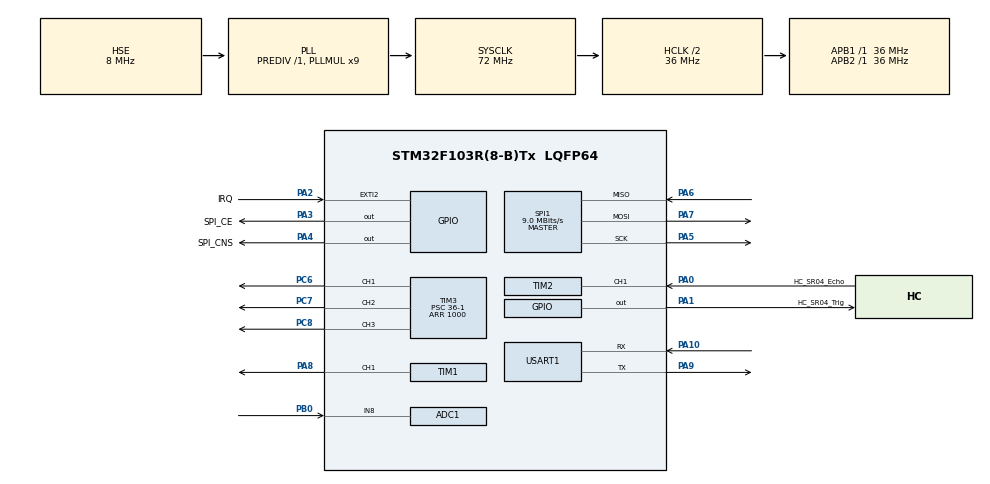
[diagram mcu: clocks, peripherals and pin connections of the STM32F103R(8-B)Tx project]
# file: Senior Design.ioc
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ADC1.Channel-2\#ChannelRegularConversion=ADC_CHANNEL_8
ADC1.NbrOfConversionFlag=1
ADC1.Rank-2\#ChannelRegularConversion=1
ADC1.SamplingTime-2\#ChannelRegularConversion=ADC_SAMPLETIME_1CYCLE_5
ADC1.master=1
FREERTOS.INCLUDE_vTaskDelayUntil=1
FREERTOS.Tasks01=Task_Init,2,128,Initialization,Default,NULL,Dynamic,NULL,NULL;Task_Sensing,1,128,Sensing,Default,NULL,Dynamic,NULL,NULL;Task_Serial,0,128,Serial_Send,Default,NULL,Dynamic,NULL,NULL;Task_Feedback,0,128,User_Feedback,Default,NULL,Dynamic,NULL,NULL;Task_Battery,0,128,Battery_Level,Default,NULL,Dynamic,NULL,NULL
FREERTOS.configTOTAL_HEAP_SIZE=3200
Mcu.Family=STM32F1
Mcu.Name=STM32F103R(8-B)Tx
Mcu.Package=LQFP64
NVIC.EXTI2_IRQn=true\:5\:0\:false\:false\:true\:true\:true\:true\:true
NVIC.PriorityGroup=NVIC_PRIORITYGROUP_4
NVIC.TIM2_IRQn=true\:5\:0\:false\:false\:true\:true\:true\:true\:true
NVIC.TIM4_IRQn=true\:15\:0\:false\:false\:true\:false\:false\:true\:true
NVIC.TimeBase=TIM4_IRQn
NVIC.TimeBaseIP=TIM4
PA0-WKUP.GPIO_Label=HC_SR04_Echo
PA0-WKUP.Signal=S_TIM2_CH1_ETR
PA1.GPIO_Label=HC_SR04_Trig
PA1.GPIO_Speed=GPIO_SPEED_FREQ_HIGH
PA1.Signal=GPIO_Output
PA10.Mode=Asynchronous
PA10.Signal=USART1_RX
PA13.Mode=Serial_Wire
PA13.Signal=SYS_JTMS-SWDIO
PA14.Mode=Serial_Wire
PA14.Signal=SYS_JTCK-SWCLK
PA2.GPIO_Label=IRQ
PA2.GPIO_ModeDefaultEXTI=GPIO_MODE_IT_FALLING
PA2.Signal=GPXTI2
PA3.GPIO_Label=SPI_CE
PA3.GPIO_Speed=GPIO_SPEED_FREQ_LOW
PA3.Signal=GPIO_Output
PA4.GPIO_Label=SPI_CNS
PA4.GPIO_Speed=GPIO_SPEED_FREQ_HIGH
PA4.PinState=GPIO_PIN_SET
PA4.Signal=GPIO_Output
PA5.Mode=Full_Duplex_Master
PA5.Signal=SPI1_SCK
PA6.Mode=Full_Duplex_Master
PA6.Signal=SPI1_MISO
PA7.Mode=Full_Duplex_Master
PA7.Signal=SPI1_MOSI
PA8.Signal=S_TIM1_CH1
PA9.Mode=Asynchronous
PA9.Signal=USART1_TX
PB0.Signal=ADCx_IN8
PC6.Signal=S_TIM3_CH1
PC7.Signal=S_TIM3_CH2
PC8.Signal=S_TIM3_CH3
PD0-OSC_IN.Mode=HSE-External-Oscillator
PD0-OSC_IN.Signal=RCC_OSC_IN
PD1-OSC_OUT.Mode=HSE-External-Oscillator
PD1-OSC_OUT.Signal=RCC_OSC_OUT
ProjectManager.HeapSize=0x200
ProjectManager.StackSize=0x400
ProjectManager.TargetToolchain=MDK-ARM V5.32
RCC.ADCPresc=RCC_ADCPCLK2_DIV4
RCC.AHBCLKDivider=RCC_SYSCLK_DIV2
RCC.AHBFreq_Value=36000000
RCC.APB1Freq_Value=36000000
RCC.APB1TimFreq_Value=36000000
RCC.APB2Freq_Value=36000000
RCC.APB2TimFreq_Value=36000000
RCC.HCLKFreq_Value=36000000
RCC.PLLMUL=RCC_PLL_MUL9
RCC.PLLSourceVirtual=RCC_PLLSOURCE_HSE
RCC.SYSCLKFreq_VALUE=72000000
RCC.SYSCLKSource=RCC_SYSCLKSOURCE_PLLCLK
RCC.USBFreq_Value=72000000
SH.ADCx_IN8.0=ADC1_IN8,IN8
SH.S_TIM1_CH1.0=TIM1_CH1,PWM Generation1 CH1
SH.S_TIM2_CH1_ETR.0=TIM2_CH1,Input_Capture1_from_TI1
SH.S_TIM3_CH1.0=TIM3_CH1,PWM Generation1 CH1
SH.S_TIM3_CH2.0=TIM3_CH2,PWM Generation2 CH2
SH.S_TIM3_CH3.0=TIM3_CH3,PWM Generation3 CH3
SPI1.BaudRatePrescaler=SPI_BAUDRATEPRESCALER_4
SPI1.CalculateBaudRate=9.0 MBits/s
SPI1.Direction=SPI_DIRECTION_2LINES
SPI1.Mode=SPI_MODE_MASTER
SPI1.VirtualType=VM_MASTER
TIM1.Channel-PWM\ Generation1\ CH1=TIM_CHANNEL_1
TIM1.Period=0
TIM1.Prescaler=36-1
TIM2.Channel-Input_Capture1_from_TI1=TIM_CHANNEL_1
TIM2.Period=0xffff
TIM2.Prescaler=36-1
TIM3.Channel-PWM\ Generation1\ CH1=TIM_CHANNEL_1
TIM3.Channel-PWM\ Generation2\ CH2=TIM_CHANNEL_2
TIM3.Channel-PWM\ Generation3\ CH3=TIM_CHANNEL_3
TIM3.Period=1000
TIM3.Prescaler=36-1
USART1.VirtualMode=VM_ASYNC
VP_FREERTOS_VS_CMSIS_V1.Mode=CMSIS_V1
VP_SYS_VS_tim4.Mode=TIM4
VP_TIM1_VS_ClockSourceINT.Mode=Internal
VP_TIM2_VS_ClockSourceINT.Mode=Internal
VP_TIM3_VS_ClockSourceINT.Mode=Internal
board=custom

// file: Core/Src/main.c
/* USER CODE BEGIN Header */
/**
  ******************************************************************************
  * @file           : main.c
  * @brief          : Main program body
  ******************************************************************************
  * @attention
  *
  * Copyright (c) 2024 STMicroelectronics.
  * All rights reserved.
  *
  * This software is licensed under terms that can be found in the LICENSE file
  * in the root directory of this software component.
  * If no LICENSE file comes with this software, it is provided AS-IS.
  *
  ******************************************************************************
  */
/* USER CODE END Header */
#include "main.h"
#include "cmsis_os.h"
#include "adc.h"
#include "spi.h"
#include "tim.h"
#include "usart.h"
#include "gpio.h"

void SystemClock_Config(void);
void MX_FREERTOS_Init(void);

int main(void)
{

  /* MCU Configuration--------------------------------------------------------*/

  /* Reset of all peripherals, Initializes the Flash interface and the Systick. */
  HAL_Init();

  /* Configure the system clock */
  SystemClock_Config();

  /* Initialize all configured peripherals */
  MX_GPIO_Init();
  MX_USART1_UART_Init();
  MX_TIM2_Init();
  MX_SPI1_Init();
  MX_TIM1_Init();
  MX_TIM3_Init();
  MX_ADC1_Init();

  /* Call init function for freertos objects (in freertos.c) */
  MX_FREERTOS_Init();

  /* Start scheduler */
  osKernelStart();
  /* We should never get here as control is now taken by the scheduler */
  /* Infinite loop */
  while (1)
  {

  }
}

void SystemClock_Config(void)
{
  RCC_OscInitTypeDef RCC_OscInitStruct = {0};
  RCC_ClkInitTypeDef RCC_ClkInitStruct = {0};
  RCC_PeriphCLKInitTypeDef PeriphClkInit = {0};

  /** Initializes the RCC Oscillators according to the specified parameters
  * in the RCC_OscInitTypeDef structure.
  */
  RCC_OscInitStruct.OscillatorType = RCC_OSCILLATORTYPE_HSE;
  RCC_OscInitStruct.HSEState = RCC_HSE_ON;
  RCC_OscInitStruct.HSEPredivValue = RCC_HSE_PREDIV_DIV1;
  RCC_OscInitStruct.HSIState = RCC_HSI_ON;
  RCC_OscInitStruct.PLL.PLLState = RCC_PLL_ON;
  RCC_OscInitStruct.PLL.PLLSource = RCC_PLLSOURCE_HSE;
  RCC_OscInitStruct.PLL.PLLMUL = RCC_PLL_MUL9;
  if (HAL_RCC_OscConfig(&RCC_OscInitStruct) != HAL_OK)
  {
    Error_Handler();
  }

  /** Initializes the CPU, AHB and APB buses clocks
  */
  RCC_ClkInitStruct.ClockType = RCC_CLOCKTYPE_HCLK|RCC_CLOCKTYPE_SYSCLK
                              |RCC_CLOCKTYPE_PCLK1|RCC_CLOCKTYPE_PCLK2;
  RCC_ClkInitStruct.SYSCLKSource = RCC_SYSCLKSOURCE_PLLCLK;
  RCC_ClkInitStruct.AHBCLKDivider = RCC_SYSCLK_DIV2;
  RCC_ClkInitStruct.APB1CLKDivider = RCC_HCLK_DIV1;
  RCC_ClkInitStruct.APB2CLKDivider = RCC_HCLK_DIV1;

  if (HAL_RCC_ClockConfig(&RCC_ClkInitStruct, FLASH_LATENCY_2) != HAL_OK)
  {
    Error_Handler();
  }
  PeriphClkInit.PeriphClockSelection = RCC_PERIPHCLK_ADC;
  PeriphClkInit.AdcClockSelection = RCC_ADCPCLK2_DIV4;
  if (HAL_RCCEx_PeriphCLKConfig(&PeriphClkInit) != HAL_OK)
  {
    Error_Handler();
  }
}

void HAL_TIM_PeriodElapsedCallback(TIM_HandleTypeDef *htim)
{
  if (htim->Instance == TIM4) {
    HAL_IncTick();
  }
}

void Error_Handler(void)
{
  __disable_irq();
  while (1)
  {
  }
}

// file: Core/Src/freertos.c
/* USER CODE BEGIN Header */
/**
  ******************************************************************************
  * File Name          : freertos.c
  * Description        : Code for freertos applications
  ******************************************************************************
  * @attention
  *
  * Copyright (c) 2024 STMicroelectronics.
  * All rights reserved.
  *
  * This software is licensed under terms that can be found in the LICENSE file
  * in the root directory of this software component.
  * If no LICENSE file comes with this software, it is provided AS-IS.
  *
  ******************************************************************************
  */
/* USER CODE END Header */

#include "FreeRTOS.h"
#include "task.h"
#include "main.h"
#include "cmsis_os.h"

/* USER CODE BEGIN Includes */
#include "HC_SR04.h"
#include "Serial.h"
#include "Buzzer.h"
#include "Vibration_Motor.h"
#include "nrf24l01p.h"
#include "Battery_Level_Detection.h"
/* USER CODE END Includes */

/* USER CODE BEGIN PD */
//#define RX
#define TX
/* USER CODE END PD */

/* USER CODE BEGIN Variables */
#ifdef TX
uint8_t tx_data[NRF24L01P_PAYLOAD_LENGTH] = {0};
#endif
#ifdef RX
uint8_t rx_data[NRF24L01P_PAYLOAD_LENGTH];
#endif
void HAL_GPIO_EXTI_Callback(uint16_t GPIO_Pin);
float Battery_Percent;
/* USER CODE END Variables */
osThreadId Task_InitHandle;
osThreadId Task_SensingHandle;
osThreadId Task_SerialHandle;
osThreadId Task_FeedbackHandle;
osThreadId Task_BatteryHandle;

/* USER CODE BEGIN FunctionPrototypes */
#ifdef TX
void HAL_GPIO_EXTI_Callback(uint16_t GPIO_Pin)
{
	if(GPIO_Pin == NRF24L01P_IRQ_PIN_NUMBER)
		nrf24l01p_tx_irq(); // clear interrupt flag
}
#endif
#ifdef RX
void HAL_GPIO_EXTI_Callback(uint16_t GPIO_Pin)
{
	if(GPIO_Pin == NRF24L01P_IRQ_PIN_NUMBER)
		nrf24l01p_rx_receive(rx_data); // read data when data ready flag is set
}
#endif
/* USER CODE END FunctionPrototypes */

void Initialization(void const * argument);
void Sensing(void const * argument);
void Serial_Send(void const * argument);
void User_Feedback(void const * argument);
void Battery_Level(void const * argument);

void MX_FREERTOS_Init(void); /* (MISRA C 2004 rule 8.1) */

/* GetIdleTaskMemory prototype (linked to static allocation support) */
void vApplicationGetIdleTaskMemory( StaticTask_t **ppxIdleTaskTCBBuffer, StackType_t **ppxIdleTaskStackBuffer, uint32_t *pulIdleTaskStackSize );

/* USER CODE BEGIN GET_IDLE_TASK_MEMORY */
static StaticTask_t xIdleTaskTCBBuffer;
static StackType_t xIdleStack[configMINIMAL_STACK_SIZE];

void vApplicationGetIdleTaskMemory( StaticTask_t **ppxIdleTaskTCBBuffer, StackType_t **ppxIdleTaskStackBuffer, uint32_t *pulIdleTaskStackSize )
{
  *ppxIdleTaskTCBBuffer = &xIdleTaskTCBBuffer;
  *ppxIdleTaskStackBuffer = &xIdleStack[0];
  *pulIdleTaskStackSize = configMINIMAL_STACK_SIZE;
  /* place for user code */
}
/* USER CODE END GET_IDLE_TASK_MEMORY */

void MX_FREERTOS_Init(void) {

  /* Create the thread(s) */
  /* definition and creation of Task_Init */
  osThreadDef(Task_Init, Initialization, osPriorityHigh, 0, 128);
  Task_InitHandle = osThreadCreate(osThread(Task_Init), NULL);

  /* definition and creation of Task_Sensing */
  osThreadDef(Task_Sensing, Sensing, osPriorityAboveNormal, 0, 128);
  Task_SensingHandle = osThreadCreate(osThread(Task_Sensing), NULL);

  /* definition and creation of Task_Serial */
  osThreadDef(Task_Serial, Serial_Send, osPriorityNormal, 0, 128);
  Task_SerialHandle = osThreadCreate(osThread(Task_Serial), NULL);

  /* definition and creation of Task_Feedback */
  osThreadDef(Task_Feedback, User_Feedback, osPriorityNormal, 0, 128);
  Task_FeedbackHandle = osThreadCreate(osThread(Task_Feedback), NULL);

  /* definition and creation of Task_Battery */
  osThreadDef(Task_Battery, Battery_Level, osPriorityNormal, 0, 128);
  Task_BatteryHandle = osThreadCreate(osThread(Task_Battery), NULL);

}

void Initialization(void const * argument)
{
  /* USER CODE BEGIN Initialization */

  /* Infinite loop */
  for(;;)
  {
		HC_SR04_Func.HC_SR04_Init();
		Vibration_Motor_Func.Vibration_Motor_Init();
		Buzzer_Func.Buzzer_Init();
		#ifdef TX
		nrf24l01p_tx_init(2500, _1Mbps);
		#endif

		#ifdef RX
		nrf24l01p_rx_init(2500, _1Mbps);
		#endif
		osDelay(1000);
		Buzzer_Func.Buzzer_Power_On();
		vTaskDelete(NULL);
  }
  /* USER CODE END Initialization */
}

void Sensing(void const * argument)
{
  /* USER CODE BEGIN Sensing */
	portTickType xLastWakeTime;
  xLastWakeTime = xTaskGetTickCount();

  const TickType_t TimeIncrement = pdMS_TO_TICKS(25);
  /* Infinite loop */
  for(;;)
  {
		HC_SR04_Func.HC_SR04_Start();
    vTaskDelayUntil(&xLastWakeTime, TimeIncrement);
  }
  /* USER CODE END Sensing */
}

void Serial_Send(void const * argument)
{
  /* USER CODE BEGIN Serial_Send */
	portTickType xLastWakeTime;
  xLastWakeTime = xTaskGetTickCount();
  const TickType_t TimeIncrement = pdMS_TO_TICKS(25);
  /* Infinite loop */
  for(;;)
  {
    printf("/*%f,%f,%f*/\n",HC_SR04.Distance_Raw,HC_SR04.Distance_KF,Battery_Percent);
		vTaskDelayUntil(&xLastWakeTime, TimeIncrement);
  }
  /* USER CODE END Serial_Send */
}

void User_Feedback(void const * argument)
{
  /* USER CODE BEGIN User_Feedback */
	portTickType xLastWakeTime;
  xLastWakeTime = xTaskGetTickCount();
  const TickType_t TimeIncrement = pdMS_TO_TICKS(25);
  /* Infinite loop */
  for(;;)
  {
		#ifdef TX
		if(HC_SR04.Distance_KF < 85.0f)
		{
			tx_data[0] = 3;
		}
		else if(HC_SR04.Distance_KF < 125.0f)
		{
			tx_data[0] = 2;
		}
		else if(HC_SR04.Distance_KF < 165.0f)
		{
			tx_data[0] = 1;
		}
		else
		{
			tx_data[0] = 0;
		}
		nrf24l01p_tx_transmit(tx_data);
		#endif

		#ifdef RX
		switch(rx_data[0])
		{
			case 0:
				HAL_TIM_PWM_Stop(VIBRATION_MOTOR_TIM, TIM_CHANNEL_1);
				break;
			case 1:
				HAL_TIM_PWM_Start(VIBRATION_MOTOR_TIM, TIM_CHANNEL_1);
				Vibration_Motor_Func.Vibration_Motor_Actuate(1,500);
				osDelay(500);
				Vibration_Motor_Func.Vibration_Motor_Actuate(1,0);
				osDelay(200);
				Vibration_Motor_Func.Vibration_Motor_Actuate(1,500);
				osDelay(500);
				Vibration_Motor_Func.Vibration_Motor_Actuate(1,0);
				osDelay(1000);
				HAL_TIM_PWM_Stop(VIBRATION_MOTOR_TIM, TIM_CHANNEL_1);
				break;
			case 2:
				HAL_TIM_PWM_Start(VIBRATION_MOTOR_TIM, TIM_CHANNEL_1);
				Vibration_Motor_Func.Vibration_Motor_Actuate(1,750);
				osDelay(500);
				Vibration_Motor_Func.Vibration_Motor_Actuate(1,0);
				osDelay(200);
				Vibration_Motor_Func.Vibration_Motor_Actuate(1,750);
				osDelay(500);
				Vibration_Motor_Func.Vibration_Motor_Actuate(1,0);
				osDelay(1000);
				HAL_TIM_PWM_Stop(VIBRATION_MOTOR_TIM, TIM_CHANNEL_1);
				break;
			case 3:
				HAL_TIM_PWM_Start(VIBRATION_MOTOR_TIM, TIM_CHANNEL_1);
				Vibration_Motor_Func.Vibration_Motor_Actuate(1,1000);
				osDelay(500);
				Vibration_Motor_Func.Vibration_Motor_Actuate(1,0);
				osDelay(200);
				Vibration_Motor_Func.Vibration_Motor_Actuate(1,1000);
				osDelay(500);
				Vibration_Motor_Func.Vibration_Motor_Actuate(1,0);
				osDelay(1000);
				HAL_TIM_PWM_Stop(VIBRATION_MOTOR_TIM, TIM_CHANNEL_1);
				break;
		}
		#endif

    vTaskDelayUntil(&xLastWakeTime, TimeIncrement);
  }
  /* USER CODE END User_Feedback */
}

void Battery_Level(void const * argument)
{
  /* USER CODE BEGIN Battery_Level */
	portTickType xLastWakeTime;
  xLastWakeTime = xTaskGetTickCount();
  const TickType_t TimeIncrement = pdMS_TO_TICKS(5000);
  /* Infinite loop */
  for(;;)
  {
    Battery_Percent = Get_Battery_Level();
		if(Battery_Percent < 30.0f)
		{
			Buzzer_Func.Buzzer_Warning();
		}
		vTaskDelayUntil(&xLastWakeTime, TimeIncrement);
  }
  /* USER CODE END Battery_Level */
}
